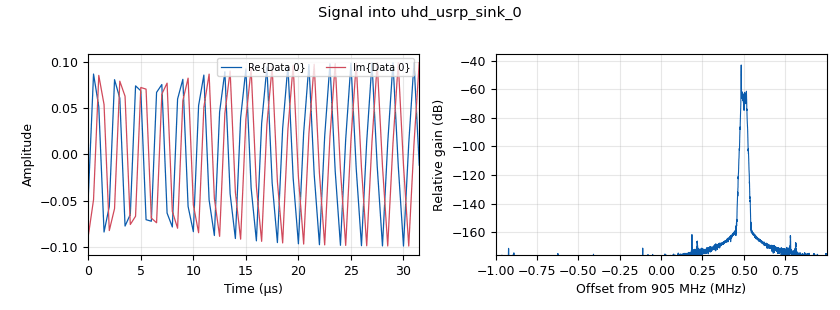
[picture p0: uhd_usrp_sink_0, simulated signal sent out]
<?xml version='1.0' encoding='utf-8'?>
<?grc format='1' created='3.7.13'?>
<flow_graph>
<block>
<key>options</key>
<param><key>id</key><value>top_block</value></param>
<param><key>category</key><value>Custom</value></param>
<param><key>generate_options</key><value>qt_gui</value></param>
</block>
<block>
<key>variable</key>
<param><key>id</key><value>center_freq</value></param>
<param><key>value</key><value>905e6</value></param>
</block>
<block>
<key>variable_qtgui_entry</key>
<param><key>id</key><value>freq</value></param>
<param><key>value</key><value>905.5e6</value></param>
<param><key>type</key><value>real</value></param>
</block>
<block>
<key>variable</key>
<param><key>id</key><value>samp_rate</value></param>
<param><key>value</key><value>2e6</value></param>
</block>
<block>
<key>variable</key>
<param><key>id</key><value>samples_per_symbol</value></param>
<param><key>value</key><value>int(samp_rate/symbol_rate)</value></param>
</block>
<block>
<key>variable_qtgui_entry</key>
<param><key>id</key><value>sensitivity</value></param>
<param><key>value</key><value>0.05</value></param>
<param><key>type</key><value>real</value></param>
</block>
<block>
<key>variable</key>
<param><key>id</key><value>symbol_rate</value></param>
<param><key>value</key><value>1/100e-6</value></param>
</block>
<block>
<key>variable_qtgui_entry</key>
<param><key>id</key><value>tx_power</value></param>
<param><key>value</key><value>50</value></param>
<param><key>type</key><value>real</value></param>
</block>
<block>
<key>analog_sig_source_x</key>
<param><key>id</key><value>analog_sig_source_x_0</value></param>
<param><key>amp</key><value>0.1</value></param>
<param><key>freq</key><value>freq-center_freq</value></param>
<param><key>offset</key><value>0</value></param>
<param><key>type</key><value>complex</value></param>
<param><key>samp_rate</key><value>samp_rate</value></param>
<param><key>waveform</key><value>analog.GR_COS_WAVE</value></param>
</block>
<block>
<key>blocks_multiply_xx</key>
<param><key>id</key><value>blocks_multiply_xx_0</value></param>
<param><key>type</key><value>complex</value></param>
</block>
<block>
<key>blocks_vector_source_x</key>
<param><key>id</key><value>blocks_vector_source_x_0</value></param>
<param><key>type</key><value>byte</value></param>
<param><key>repeat</key><value>True</value></param>
<param><key>vector</key><value>(0,0,85,85,0,13,0,13,255,254,253,252,251,250,0,1,2,3,4,5,6,0,0,0,0,0,0,0,0,0,0,0,0,0,0,0)</value></param>
</block>
<block>
<key>digital_gfsk_mod</key>
<param><key>id</key><value>digital_gfsk_mod_0</value></param>
<param><key>bt</key><value>0.35</value></param>
<param><key>samples_per_symbol</key><value>samples_per_symbol</value></param>
<param><key>sensitivity</key><value>sensitivity</value></param>
</block>
<block>
<key>uhd_usrp_sink</key>
<param><key>id</key><value>uhd_usrp_sink_0</value></param>
<param><key>ant0</key><value>TX/RX</value></param>
<param><key>center_freq0</key><value>center_freq</value></param>
<param><key>norm_gain0</key><value>False</value></param>
<param><key>gain0</key><value>tx_power</value></param>
<param><key>clock_rate</key><value>0.0</value></param>
<param><key>dev_args</key><value>""</value></param>
<param><key>type</key><value>fc32</value></param>
<param><key>samp_rate</key><value>samp_rate</value></param>
<param><key>hide_cmd_port</key><value>False</value></param>
<param><key>hide_lo_controls</key><value>True</value></param>
<param><key>sync</key><value></value></param>
<param><key>len_tag_name</key><value></value></param>
</block>
<connection><source_block_id>analog_sig_source_x_0</source_block_id><sink_block_id>blocks_multiply_xx_0</sink_block_id><source_key>0</source_key><sink_key>1</sink_key></connection>
<connection><source_block_id>blocks_multiply_xx_0</source_block_id><sink_block_id>uhd_usrp_sink_0</sink_block_id><source_key>0</source_key><sink_key>0</sink_key></connection>
<connection><source_block_id>blocks_vector_source_x_0</source_block_id><sink_block_id>digital_gfsk_mod_0</sink_block_id><source_key>0</source_key><sink_key>0</sink_key></connection>
<connection><source_block_id>digital_gfsk_mod_0</source_block_id><sink_block_id>blocks_multiply_xx_0</sink_block_id><source_key>0</source_key><sink_key>0</sink_key></connection>
</flow_graph>
